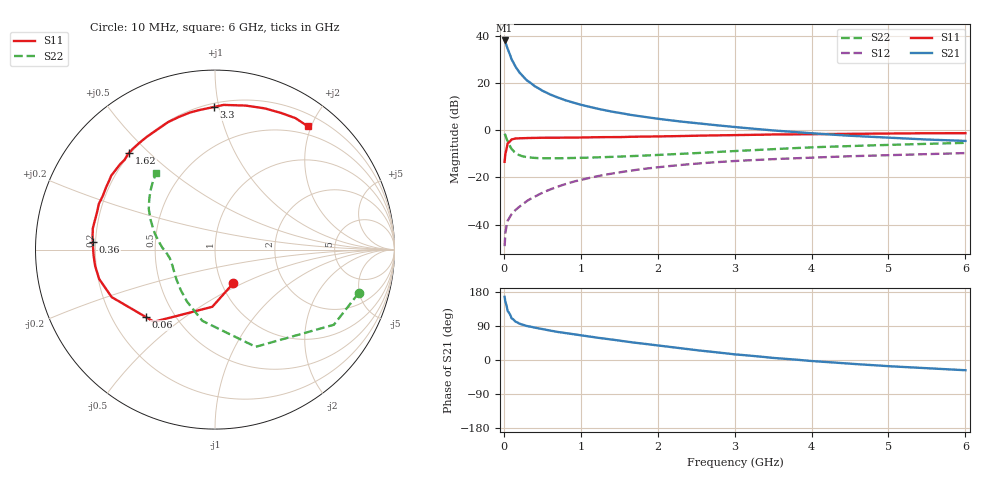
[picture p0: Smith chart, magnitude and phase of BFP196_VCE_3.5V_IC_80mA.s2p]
! Infineon Technologies  Discrete & RF Semiconductors
! BFP196
! VCE = 3.5 V,  IC =  80mA
! Common Emitter S-Parameters:  Jan 2016
# GHz  S  MA  R  50
!  f  S11  S21  S12  S22
! GHz  MAG  ANG  MAG  ANG  MAG  ANG  MAG  ANG
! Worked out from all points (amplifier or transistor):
!   210 points, 10 MHz to 6 GHz, reference 50 ohm
!   highest |S21| = 37.9 dB at 10 MHz (marker M1)
!   |S21| within 3 dB of that: start of sweep to 43.47 MHz
!   unconditionally stable (mu >= 1): 373.1 MHz to 4.867 GHz
!   at 185 MHz: K = 0.81, MSG = 29.1 dB, |S12| = -32.9 dB
!   at 1.52 GHz: K = 1.09, MAG = 10.7 dB, |S12| = -17.8 dB
!   at 6 GHz: K = 0.98, MSG = 2.6 dB, |S12| = -9.7 dB
!   S11 on the Smith chart (normalised r, x): 10 MHz: 1.13, -0.45; 60 MHz: 0.34, -0.36; 360 MHz: 0.19, +0.03; 1.62 GHz: 0.19, +0.43; 3.3 GHz: 0.22, +0.97; 6 GHz: 0.37, +1.95
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0.01  0.2134 -61.4  78.76 166.7  0.0035 76.7  0.8366 -16.8
0.02  0.319 -92.7  72.72 153.8  0.0066 66.6  0.7835 -32.3
0.05  0.5267 -130.2  52.35 129.1  0.0121 55.5  0.5872 -67.3
0.06  0.5388 -135.9  47.91 126.7  0.013 54.5  0.5392 -71.9
0.1  0.6335 -155.3  31.6 110.3  0.0166 51.7  0.4028 -100.1
0.15  0.6656 -165.7  21.98 101.4  0.0203 52.6  0.329 -118.3
0.2  0.6738 -172.0  16.78 96.1  0.0237 57.0  0.2955 -130.2
0.24  0.6761 -175.8  14.12 93.2  0.0264 59.2  0.2803 -137.1
0.3  0.679 -180.0  11.26 89.7  0.0316 61.7  0.2682 -144.5
0.36  0.6822 176.4  9.607 87.3  0.036 63.3  0.2612 -149.4
0.4  0.6858 174.1  8.516 85.2  0.039 64.1  0.2577 -152.8
0.5  0.691 170.1  6.823 81.5  0.047 65.4  0.2536 -158.4
0.6  0.6887 165.9  5.687 77.7  0.0552 65.6  0.2531 -161.9
0.8  0.6956 158.5  4.276 71.1  0.072 64.5  0.2548 -166.9
1.02  0.6987 150.5  3.375 64.5  0.09 62.7  0.2587 -170.7
1.62  0.7207 131.8  2.135 47.9  0.1366 54.6  0.2796 -178.4
2.02  0.7349 120.5  1.723 37.9  0.1648 48.4  0.2987 176.3
3.1  0.7854 94.5  1.122 13.3  0.2259 32.0  0.3664 160.7
3.3  0.7946 90.5  1.05 9.6  0.2344 29.1  0.3806 157.8
4.1  0.8223 76.4  0.836 -4.0  0.2652 18.9  0.4376 147.4
5.1  0.8476 63.0  0.68 -17.3  0.2983 7.8  0.4913 136.6
6  0.8598 53.0  0.59 -27.0  0.3262 -2.2  0.5375 127.6
